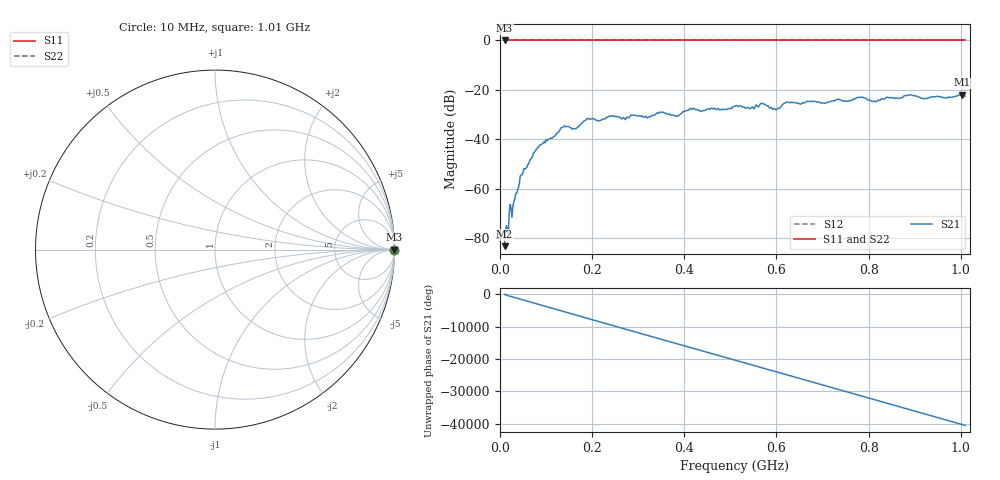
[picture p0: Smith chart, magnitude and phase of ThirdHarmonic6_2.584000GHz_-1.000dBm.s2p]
! 8/17/2025 5:29:35 AM
! C:\ANRITSUVNA\TEMP\TEMP.S2P
! CHANNEL.1
! TR.MEASUREMENT
! RAW.DATA
! RF.CORRECTION.OFF
! AVERAGING.OFF
! IF.BANDWIDTH: 5KHZ
! SWEEPTYPE:  FREQ.SWEEP(Linear)
! Reference Plane Port Info
! PORT:  PORT1  PORT2
! DISTANCE:  0  m  0  m
! TIME:  0  s  0  s
! PHASE.OFFSET:  0  deg.  0  deg.
! LOSS:  0  dB  0  dB
! REF.LOSS:  0  dB  0  dB
! REF.FREQ:  0  Hz  0  Hz
! Power Info
! POWER:  -20  dBm  -20  dBm
! EFF.POWER:  -20  dBm  -20  dBm
! SOURCE.ATTEN:  0  dB  0  dB
! TEST.ATTEN:  0  dB  0  dB
# GHZ S RI R 50.0
! FREQ.GHZ  S11RE  S11IM  S21RE  S21IM  S12RE  S12IM  S22RE  S22IM
!; PortSelection: Port_12
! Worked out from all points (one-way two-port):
!   501 points, 10 MHz to 1.01 GHz, reference 50 ohm
!   highest |S21| = -21.90 dB at 1.002 GHz (marker M1); lowest = -83.2 dB at 10 MHz (marker M2)
!   lowest |S11| = 0.0 dB at 10 MHz (marker M3)
!   |S11| at or under -10 dB: nowhere
!   |S22| runs from 0.0 to 0.0 dB; largest |S21 - S12| = 1.1
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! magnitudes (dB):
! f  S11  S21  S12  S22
! 10 MHz  0.0  -83.2  0.0  0.0
! 14 MHz  0.0  -74.9  0.0  0.0
! 24 MHz  0.0  -67.8  0.0  0.0
! 48 MHz  0.0  -54.2  0.0  0.0
! 76 MHz  0.0  -44.9  0.0  0.0
! 136 MHz  0.0  -35.2  0.0  0.0
! 162 MHz  0.0  -35.6  0.0  0.0
! 178 MHz  0.0  -33.4  0.0  0.0
! 344 MHz  0.0  -29.6  0.0  0.0
! 384 MHz  0.0  -30.7  0.0  0.0
! 416 MHz  0.0  -27.9  0.0  0.0
! 510 MHz  0.0  -26.5  0.0  0.0
! 548 MHz  0.0  -26.9  0.0  0.0
! 570 MHz  0.0  -25.5  0.0  0.0
! 596 MHz  0.0  -27.5  0.0  0.0
! 622 MHz  0.0  -24.9  0.0  0.0
! 678 MHz  0.0  -24.7  0.0  0.0
! 782 MHz  0.0  -23.0  0.0  0.0
! 814 MHz  0.0  -24.6  0.0  0.0
! 844 MHz  0.0  -23.1  0.0  0.0
! 1.002 GHz  0.0  -21.9  0.0  0.0
! 1.01 GHz  0.0  -22.5  0.0  0.0
